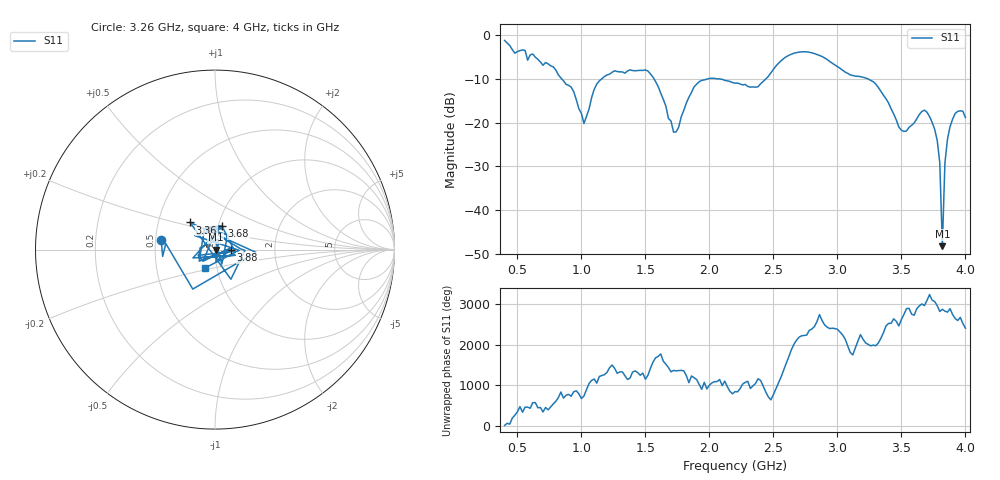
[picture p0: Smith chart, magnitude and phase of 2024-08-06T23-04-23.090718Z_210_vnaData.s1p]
!Created with skrf (http://scikit-rf.org).
# Hz S RI R 50.0
!freq ReS11 ImS11
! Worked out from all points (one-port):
!   181 points, 400 MHz to 4 GHz, reference 50 ohm
!   lowest |S11| = -48.3 dB at 3.82 GHz (marker M1), VSWR 1.01, Z = 50.4 - j0.116 ohm
!   |S11| at or under -10 dB: 1.567 GHz to 1.987 GHz (419.6 MHz wide, 23.6 % of centre); 2.08 GHz to 2.441 GHz (360.5 MHz wide, 15.9 % of centre); 3.24 GHz to end of sweep (the widest 3 of 4)
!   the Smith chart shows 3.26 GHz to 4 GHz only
!   S11 on the Smith chart (normalised r, x): 3.26 GHz: 0.54, +0.06; 3.36 GHz: 0.73, +0.23; 3.68 GHz: 1.04, +0.28; 3.88 GHz: 1.20, -0.00; 4 GHz: 0.88, -0.18
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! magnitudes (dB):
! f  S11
! 400 MHz  -1.2
! 860 MHz  -10.4
! 940 MHz  -12.9
! 1.02 GHz  -20.2
! 1.12 GHz  -11.2
! 1.3 GHz  -8.4
! 1.52 GHz  -8.2
! 1.6 GHz  -11.8
! 1.72 GHz  -22.2
! 1.76 GHz  -21.1
! 1.92 GHz  -10.6
! 2.2 GHz  -11.0
! 2.38 GHz  -11.8
! 2.66 GHz  -4.1
! 2.86 GHz  -4.6
! 3.1 GHz  -9.1
! 3.26 GHz  -10.3
! 3.36 GHz  -13.7
! 3.5 GHz  -21.7
! 3.56 GHz  -21.1
! 3.68 GHz  -17.1
! 3.78 GHz  -24.1
! 3.8 GHz  -29.2
! 3.82 GHz  -48.3
! 3.84 GHz  -29.3
! 3.88 GHz  -20.9
! 3.94 GHz  -17.4
! 4 GHz  -18.8
